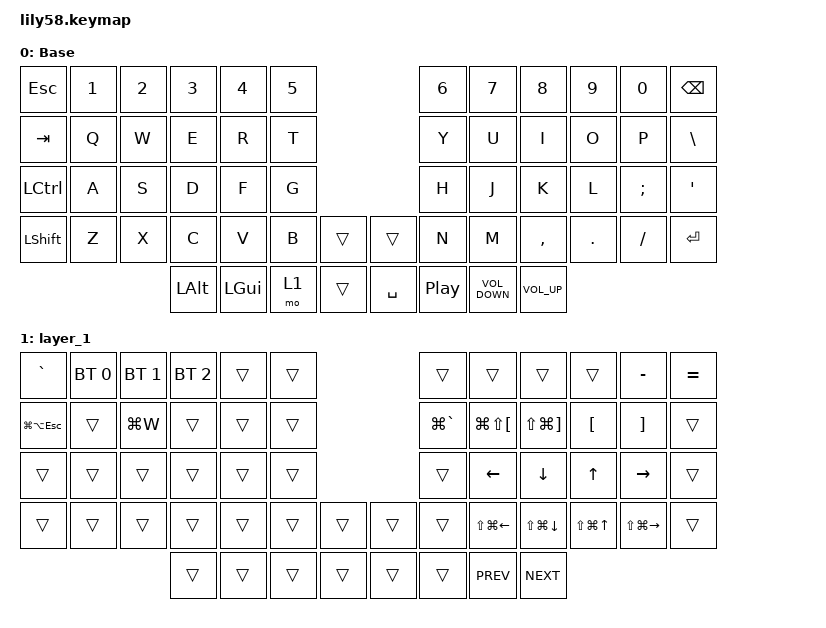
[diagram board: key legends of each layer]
/*
 * Copyright (c) 2020 The ZMK Contributors
 *
 * SPDX-License-Identifier: MIT
 */

#include <behaviors.dtsi>
#include <dt-bindings/zmk/bt.h>
#include <dt-bindings/zmk/keys.h>

/ {
    keymap {
        compatible = "zmk,keymap";

        default_layer {
            // ------------------------------------------------------------------------------------------------------------
            // |  ESC  |  1  |  2  |  3   |  4   |  5   |                   |  6   |  7    |  8    |  9   |   0   |   `   |
            // |  TAB  |  Q  |  W  |  E   |  R   |  T   |                   |  Y   |  U    |  I    |  O   |   P   |   -   |
            // |  CTRL |  A  |  S  |  D   |  F   |  G   |                   |  H   |  J    |  K    |  L   |   ;   |   '   |
            // | SHIFT |  Z  |  X  |  C   |  V   |  B   |   "["  |  |  "]"  |  N   |  M    |  ,    |  .   |   /   | SHIFT |
            //                     | ALT  | GUI  | LOWER|  SPACE |  | ENTER | RAISE| BSPC  | GUI   |

            display-name = "Base";
            bindings = <
&kp ESC    &kp N1  &kp N2  &kp N3    &kp N4    &kp N5                       &kp N6            &kp N7             &kp N8           &kp N9      &kp N0    &kp BACKSPACE
&kp TAB    &kp Q   &kp W   &kp E     &kp R     &kp T                        &kp Y             &kp U              &kp I            &kp O       &kp P     &kp BACKSLASH
&kp LCTRL  &kp A   &kp S   &kp D     &kp F     &kp G                        &kp H             &kp J              &kp K            &kp L       &kp SEMI  &kp SQT
&kp LSHFT  &kp Z   &kp X   &kp C     &kp V     &kp B   &trans    &trans     &kp N             &kp M              &kp COMMA        &kp PERIOD  &kp FSLH  &kp ENTER
                           &kp LALT  &kp LGUI  &mo 1   &trans    &kp SPACE  &kp C_PLAY_PAUSE  &kp C_VOLUME_DOWN  &kp C_VOLUME_UP
            >;
        };

        layer_1 {
            bindings = <
&kp GRAVE        &bt BT_SEL 0  &bt BT_SEL 1  &bt BT_SEL 2  &trans  &trans                    &trans         &trans                    &trans                     &trans                &kp MINUS          &kp EQUAL
&kp LG(LA(ESC))  &trans        &kp LG(W)     &trans        &trans  &trans                    &kp LG(GRAVE)  &kp LG(LS(LEFT_BRACKET))  &kp LS(LG(RIGHT_BRACKET))  &kp LEFT_BRACKET      &kp RIGHT_BRACKET  &trans
&trans           &trans        &trans        &trans        &trans  &trans                    &trans         &kp LEFT                  &kp DOWN                   &kp UP_ARROW          &kp RIGHT          &trans
&trans           &trans        &trans        &trans        &trans  &trans  &trans    &trans  &trans         &kp LS(LG(LEFT))          &kp LS(LG(DOWN_ARROW))     &kp LS(LG(UP_ARROW))  &kp LS(LG(RIGHT))  &trans
                                             &trans        &trans  &trans  &trans    &trans  &trans         &kp C_PREV                &kp C_NEXT
            >;
        };
    };
};
